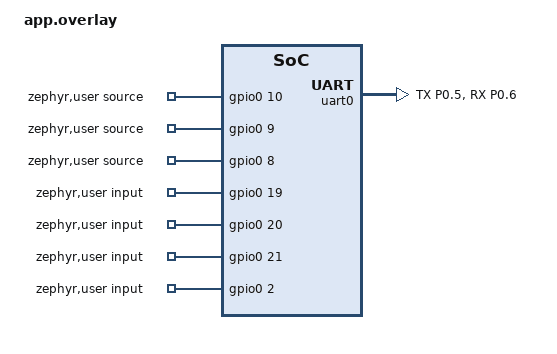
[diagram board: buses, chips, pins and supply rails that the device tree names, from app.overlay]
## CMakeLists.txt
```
cmake_minimum_required(VERSION 3.20.0)
find_package(Zephyr REQUIRED HINTS $ENV{ZEPHYR_BASE})
project(commkb)

target_sources(app PRIVATE
    src/main.c
    src/usb.c
    src/usb_device.c
    src/keyboard.c
)
```

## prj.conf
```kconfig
CONFIG_USB_DEVICE_STACK_NEXT=y

CONFIG_USBD_HID_SUPPORT=y
CONFIG_USBD_HID_SET_POLLING_PERIOD=y

CONFIG_LOG=y
CONFIG_USBD_LOG_LEVEL_WRN=y
CONFIG_USBD_HID_LOG_LEVEL_WRN=y
CONFIG_UDC_DRIVER_LOG_LEVEL_WRN=y

CONFIG_HWINFO=y
```

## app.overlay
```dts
/ {
    hid_dev_0: hid_dev_0 {
        compatible = "zephyr,hid-device";
        label = "HID0";
        protocol-code = "keyboard";
        in-report-size = <64>;
        in-polling-period-us = <1000>;
    };
};

/ {
    zephyr,user {
        /* Define a list (array) of gpios */
        source-gpios = <&gpio0 10  GPIO_ACTIVE_HIGH>,
                       <&gpio0 9  GPIO_ACTIVE_HIGH>,
                       <&gpio0 8 GPIO_ACTIVE_HIGH>;

        input-gpios = <&gpio0 19 (GPIO_ACTIVE_HIGH | GPIO_PULL_DOWN)>,
                      <&gpio0 20 (GPIO_ACTIVE_HIGH | GPIO_PULL_DOWN)>,
                      <&gpio0 21 (GPIO_ACTIVE_HIGH | GPIO_PULL_DOWN)>,
                      <&gpio0  2 (GPIO_ACTIVE_HIGH | GPIO_PULL_DOWN)>;
    };
};

&pinctrl {
    uart0_default: uart0_default {
        group1 {
            psels = <NRF_PSEL(UART_TX, 0, 5)>,
                    <NRF_PSEL(UART_RX, 0, 6)>;
        };
    };
};

&uart0 {
    status = "okay";
    pinctrl-0 = <&uart0_default>;
    pinctrl-names = "default";
    /delete-property/ pinctrl-1;
};
```

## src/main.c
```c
#include <stdint.h>
#include <string.h>
#include <zephyr/kernel.h>
#include <zephyr/sys/printk.h>
#include <zephyr/logging/log.h>
#include <zephyr/logging/log_core.h>
#include <zephyr/drivers/gpio.h>
#include <zephyr/dt-bindings/gpio/gpio.h>

#include "usb.h"
#include "keymap.h"
#include "keyboard.h"


LOG_MODULE_REGISTER(keybaord_main, LOG_LEVEL_INF);
void add_key_to_report(uint8_t key, uint8_t *keyreport);


int main(void)
{
    int err;
    if ((err = usbd_setup_helper()) != 0)
    {
        LOG_ERR("Failed to register USB device! (err: %d)\n", err);
        return err;
    }

    LOG_INF("USBD ready!");

    while (!hid_ready)
    {
        LOG_INF("Waiting for HID device to be ready...\n");
        k_sleep(K_SECONDS(1));
    }

    LOG_INF("HID ready!");

    if ((err = configure_keys()) != 0)
    {
        LOG_ERR("Failed to configure initial key states! (err: %d)", err);
        return err;
    }

    LOG_INF("Starting keyscan!");
    uint8_t offset_tmp = 0;
    uint64_t keyflags_tmp = 0;
    // by storing the previous keyflags we can avoid
    // computing if nothing changed.
    uint64_t keyflags_prev = 0;
    uint8_t keyreport[KB_BOOT_REPORT_SIZE] = {0};
    while (1)
    {
        // This checks what key is pressed
        refresh_key_state();

        if (keyflags_prev != keyflags)
        {
            memset(keyreport, 0, KB_BOOT_REPORT_SIZE);

            if(KFLAG_TEST(FN_KEY))
            {

                keyflags_tmp = keyflags;
                while (keyflags_tmp)
                {
                    printk("fn + offset: %d\n", offset_tmp);
                    offset_tmp = __builtin_ctzll(keyflags_tmp);
                    if (offset_tmp == FN_KEY)
                    {
                        keyflags_tmp &= (keyflags_tmp -1);
                        continue;
                    }

                    uint8_t ret = fnfunc_lookup[offset_tmp](offset_tmp);
                    // Some function keys just do their own thing.
                    // They signal this by returning -1.
                    // In this case we don't want to send anything.
                    if (ret < 0)
                        goto loop_end;

                    for (int i = 2; i < KB_BOOT_REPORT_SIZE; i++)
                    {
                        if (keyreport[i] == 0)
                        {
                            keyreport[i] = ret;
                            break;
                        }
                    }

                    keyflags_tmp &= (keyflags_tmp -1);
                }
            } else
            {
                keyflags_tmp = keyflags;
                while (keyflags_tmp)
                {
                    offset_tmp = __builtin_ctzll(keyflags_tmp);
                    printk("offset: %d\n", offset_tmp);

                    // Both the mod and regular keys can be added
                    // since if they are not set they are just 0.
                    keyreport[0] += modval_lookup[offset_tmp];
                    for (int i = 2; i < KB_BOOT_REPORT_SIZE; i++)
                    {
                        if (keyreport[i] == 0)
                        {
                            keyreport[i] = keyval_lookup[offset_tmp];
                            break;
                        }
                    }

                    // This bit of magic unsets the last flag
                    // so it ctzll can calculate the next offset.
                    keyflags_tmp &= (keyflags_tmp -1);
                }
            }


            for (int j = 0; j < KB_BOOT_REPORT_SIZE; j++)
                printk("%02x ", keyreport[j]);
            printk("\n");
            kb_hid_send_report(keyreport);
            keyflags_prev = keyflags;
        }

loop_end:
        k_usleep(10000);
    }

}
```

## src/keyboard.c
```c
#include <stdint.h>

#include <zephyr/kernel.h>
#include <zephyr/logging/log.h>
#include <zephyr/logging/log_core.h>
#include <zephyr/drivers/gpio.h>
#include <zephyr/dt-bindings/gpio/gpio.h>

#include "keymap.h"
#include "keyboard.h"


LOG_MODULE_REGISTER(keyboard_helper, LOG_LEVEL_INF);


const struct gpio_dt_spec sources[NUM_SOURCES] = {
    GPIO_DT_SPEC_GET_BY_IDX(ZEPHYR_USER_NODE, source_gpios, 0), // Pin 2
    GPIO_DT_SPEC_GET_BY_IDX(ZEPHYR_USER_NODE, source_gpios, 1), // Pin 3
    GPIO_DT_SPEC_GET_BY_IDX(ZEPHYR_USER_NODE, source_gpios, 2), // Pin 21
};


const struct gpio_dt_spec inputs[NUM_INPUTS] = {
    GPIO_DT_SPEC_GET_BY_IDX(ZEPHYR_USER_NODE, input_gpios, 0),
    GPIO_DT_SPEC_GET_BY_IDX(ZEPHYR_USER_NODE, input_gpios, 1),
    GPIO_DT_SPEC_GET_BY_IDX(ZEPHYR_USER_NODE, input_gpios, 2),
    GPIO_DT_SPEC_GET_BY_IDX(ZEPHYR_USER_NODE, input_gpios, 3),
};

_Static_assert(NUM_SOURCES * NUM_INPUTS <= 64,
               "Maximum 64 keys supported at this moment.");


// Keyflags is effectively the "state" of the keyboard.
// Some functions, such as refresh_key_state() change
// this value. Such functions should be limited to functions
// directly called by the library user.
uint64_t keyflags = 0;


// Lookup tables for both the key value and the mod value
const uint8_t keyval_lookup[NUM_KEYS] = {
#define X(offset, keyval, modval, fn, funval) [offset] = keyval,
    KFLAG_LIST(X)
#undef X
};

const uint8_t modval_lookup[NUM_KEYS] = {
#define X(offset, keyval, modval, fn, funval) [offset] = modval,
    KFLAG_LIST(X)
#undef X
};


// What function should the fn key call
const fnfunc_t fnfunc_lookup[NUM_KEYS] = {
#define X(offset, keyval, modval, fn, funval) [offset] = fn,
    KFLAG_LIST(X)
#undef X
};

// What key should the fn_layer function set.
const uint8_t fnlayer_lookup[NUM_KEYS] = {
#define X(offset, keyval, modval, fn, funval) [offset] = funval,
    KFLAG_LIST(X)
#undef X
};




int configure_keys()
{
    int err;


    for (uint8_t i = 0; i < NUM_SOURCES; i++)
    {
        if (!gpio_is_ready_dt(&sources[i]))
        {
            LOG_ERR("Source pin %d not available\n", i);
            return -1;
        }

        if ((err = gpio_pin_configure_dt(&sources[i], GPIO_OUTPUT_ACTIVE)) !=0)
        {
            LOG_ERR("Failed configuring source pin %d (err: %d)\n", i, err);
            return -1;
        }
    }

    for (uint8_t i = 0; i < NUM_INPUTS; i++)
    {
        if (!gpio_is_ready_dt(&inputs[i]))
        {
            LOG_ERR("Input pin %d not available\n", i);
            return -2;
        }
        if ((err = gpio_pin_configure_dt(&inputs[i], GPIO_INPUT | GPIO_PULL_DOWN)) != 0)
        {
            LOG_ERR("Failed configuring input pin %d (err %d)\n", i, err);
            return -2;
        }
    }

    for (uint8_t i = 0; i < NUM_SOURCES; i++)
        gpio_pin_set_dt(&sources[i], 0);


    return 0;
}

// Note that this function changes global state
void refresh_key_state()
{
    for (uint8_t s = 0; s < NUM_SOURCES; s++)
    {
        gpio_pin_set_dt(&sources[s], 1);
        for (uint8_t i = 0; i < NUM_INPUTS; i++)
        {
            if (gpio_pin_get_dt(&inputs[i]) > 0)
                KFLAG_SET(s, i);
            else
                KFLAG_CLEAR(s, i);
        }
        gpio_pin_set_dt(&sources[s], 0);
    }
}




// Placeholder for function keys that do nothing
uint8_t fn_none(uint8_t offset)
{
    return offset;
}

uint8_t fn_layer(uint8_t offset)
{
    return fnlayer_lookup[offset];
}
```

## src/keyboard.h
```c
#ifndef LOCAL_KEYBOARD_HEADER
#define LOCAL_KEYBOARD_HEADER

#include <stdint.h>
#include <zephyr/devicetree.h>
#include <zephyr/drivers/gpio.h>
#include <zephyr/usb/class/hid.h>

// Keyflags is effectively the "state" of the keyboard.
// Some functions, such as refresh_key_state() change
// this value. Such functions should be limited to functions
// directly called by the library user.
extern uint64_t keyflags;

#define NUM_INPUTS 4
#define NUM_SOURCES 3

#define USERNODE DT_PATH(zephyr_user)
#define ZEPHYR_USER_NODE DT_PATH(zephyr_user)


// Macros for the keyflag bitmask
#define KBIT(source, input) ((source) * NUM_INPUTS + (input))

#define KFLAG_SET(source, input) \
    (keyflags |=  (1ULL << KBIT(source, input)))

#define KFLAG_CLEAR(source, input) \
    (keyflags &= ~(1ULL << KBIT(source, input)))

#define KFLAG_TEST(offset) (((keyflags) >> (offset)) & 1ULL)


// Function type for fn functions.
typedef uint8_t (*fnfunc_t)(uint8_t);

extern const uint8_t keyval_lookup[];
extern const uint8_t modval_lookup[];
extern const fnfunc_t fnfunc_lookup[];
extern const uint8_t fnlayer_lookup[];


extern const struct gpio_dt_spec sources[];
extern const struct gpio_dt_spec inputs[];

int configure_keys();
void refresh_key_state();


// Function keys
uint8_t fn_none(uint8_t offset);
uint8_t fn_layer(uint8_t offset);
#endif
```

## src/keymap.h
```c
#ifndef LOCAL_KEYMAP_HEADER
#define LOCAL_KEYMAP_HEADER

#include <zephyr/usb/class/hid.h>



/*
 * This file serves the single purpose to
 * define what actions each key does on the
 * keyboard.
 *
 * Everything is set by the KFLAG_LIST macro, which identifies
 * keys by their offset in the keyflags bitmask. (This is the
 * bitmask used internally to track key states.)
 *
 * Setting up this macro is a bit complex initially, but only needs
 * to be done once for a keyboard. To get the offset of any key,
 * do the following steps:
 *
 * 1. Enable logging over UART (if it isn't already)
 * 2. Initially set up the macro in whatever order,
 *    making sure that there is an uninterrupted
 *    offset count. (ie: there are no skipped numbers)
 * 3. Push a key.
 * 4. Check what offset is printed to UART.
 * 4. Update the macro.
 */


// This macro defines what each physical key does. In order to get
// the offset for configuring a keyboard
// | offset | key value | mod value | fn_function | Layer key (0 if N/A)
#define NUM_KEYS 12
#define KFLAG_LIST(X)\
        X( 0,         HID_KEY_A,                            0,        fn_layer, HID_KEY_1) \
        X( 1,         HID_KEY_D,                            0,        fn_layer, HID_KEY_4) \
        X( 2, HID_KEY_BACKSPACE,                            0,        fn_layer, HID_KEY_7) \
        X( 3,                 0,                            0,         fn_none,         0) \
        X( 4,         HID_KEY_B,                            0,        fn_layer, HID_KEY_2) \
        X( 5,         HID_KEY_E,                            0,        fn_layer, HID_KEY_5) \
        X( 6,     HID_KEY_SPACE,                            0,        fn_layer, HID_KEY_8) \
        X( 7,                 0,   HID_KBD_MODIFIER_LEFT_CTRL,        fn_layer, HID_KEY_0) \
        X( 8,         HID_KEY_C,                            0,        fn_layer, HID_KEY_3) \
        X( 9,         HID_KEY_F,                            0,        fn_layer, HID_KEY_6) \
        X(10,     HID_KEY_ENTER,                            0,        fn_layer, HID_KEY_9) \
        X(11,                 0,    HID_KBD_MODIFIER_LEFT_ALT,         fn_none,         0)
// NOTE: FN key must always be set
#define FN_KEY 3

#endif
```

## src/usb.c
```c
#include <stdint.h>
#include <string.h>
#include <sys/errno.h>

#include <zephyr/kernel.h>
#include <zephyr/device.h>
#include <zephyr/usb/usbd.h>
#include <zephyr/sys/printk.h>
#include <zephyr/sys/util_macro.h>
#include <zephyr/logging/log.h>
#include <zephyr/logging/log_core.h>
#include <zephyr/toolchain/gcc.h>
#include <zephyr/usb/usbd_msg.h>
#include <zephyr/usb/class/hid.h>
#include <zephyr/usb/class/usbd_hid.h>
#include <zephyr/drivers/usb/udc_buf.h>


#include "usb.h"

static void kb_iface_ready(const struct device *dev, const bool ready);
static uint32_t kb_get_idle(const struct device *dev, const uint8_t id);
static void kb_set_protocol(const struct device *dev, const uint8_t proto);
static void kb_set_idle(const struct device *dev, const uint8_t id, const uint32_t duration);
static void kb_output_report(const struct device *dev, const uint16_t len, const uint8_t *const buf);
static int kb_get_report(const struct device *dev, const uint8_t type, const uint8_t id, const uint16_t len, uint8_t *const buf);
static int kb_set_report(const struct device *dev, const uint8_t type, const uint8_t id, const uint16_t len, const uint8_t *const buf);
static void msg_cb(struct usbd_context *const ctx, const struct usbd_msg *const msg);


LOG_MODULE_REGISTER(kb_usb, LOG_LEVEL_INF);



static const uint8_t hid_report_desc[] = HID_KEYBOARD_REPORT_DESC();

struct kb_report_msg {
    uint8_t report[KB_BOOT_REPORT_SIZE];
};

K_MSGQ_DEFINE(kb_report_q, sizeof(struct kb_report_msg), 2, 4);


UDC_STATIC_BUF_DEFINE(tx_report, KB_BOOT_REPORT_SIZE);

const struct device *hid_dev;
struct usbd_context *usbd_ctx;
bool hid_ready;


const struct hid_device_ops kb_ops = {
    .iface_ready   = kb_iface_ready,
    .get_report    = kb_get_report,
    .set_report    = kb_set_report,
    .set_idle      = kb_set_idle,
    .get_idle      = kb_get_idle,
    .set_protocol  = kb_set_protocol,
    .output_report = kb_output_report,
};



int usbd_setup_helper()
{
    int err;

    hid_dev = DEVICE_DT_GET_ONE(zephyr_hid_device);
    if (!device_is_ready(hid_dev))
    {
        LOG_ERR("HID device not ready");
        return -EIO;
    }

    if((err = hid_device_register(hid_dev, hid_report_desc, sizeof(hid_report_desc), &kb_ops)) != 0)
    {
        LOG_ERR("hid_device_register failed %d", err);
        return err;
    }

    // NOTE: CONFIG_USBD_HID_SET_POLLING_PERIOD has to be enabled!
    (void)hid_device_set_in_polling(hid_dev, 1000);
    err = hid_device_set_out_polling(hid_dev, 1000);
    if (err != 0 && err != -ENOTSUP)
        LOG_WRN("hid_device_set_out_polling warning: %d", err);


    usbd_ctx = app_usbd_init(msg_cb);
    if (usbd_ctx == NULL)
    {
        LOG_ERR("sample_usbd_init_device failed");
        return -ENODEV;
    }


    if (!usbd_can_detect_vbus(usbd_ctx))
        if ((err = usbd_enable(usbd_ctx)) != 0 )
        {
            LOG_ERR("Running usbd_enable failed! (err: %d)\n", err);
            return err;
        }

    return 0;
}







static void kb_iface_ready(const struct device *dev, const bool ready)
{
    ARG_UNUSED(dev);
    hid_ready = ready;
}


static int kb_get_report(const struct device *dev,
                         const uint8_t type,
                         const uint8_t id,
                         const uint16_t len,
                         uint8_t *const buf)
{
    ARG_UNUSED(dev);
    ARG_UNUSED(type);
    ARG_UNUSED(id);
    ARG_UNUSED(len);
    ARG_UNUSED(buf);
    return -ENOTSUP;
}

static int kb_set_report(const struct device *dev,
                         const uint8_t type, const uint8_t id, const uint16_t len,
                         const uint8_t *const buf)
{
    ARG_UNUSED(dev);
    ARG_UNUSED(id);
    ARG_UNUSED(len);
    ARG_UNUSED(buf);

    if (type != HID_REPORT_TYPE_OUTPUT)
        return -ENOTSUP;

    return 0;
}


static uint32_t kb_idle;
static void kb_set_idle(const struct device *dev, const uint8_t id, const uint32_t duration)
{
	ARG_UNUSED(dev);
	ARG_UNUSED(id);
	kb_idle = duration;
}

static uint32_t kb_get_idle(const struct device *dev, const uint8_t id)
{
	ARG_UNUSED(dev);
	ARG_UNUSED(id);
	return kb_idle;
}

static void kb_set_protocol(const struct device *dev, const uint8_t proto)
{
	ARG_UNUSED(dev);
	ARG_UNUSED(proto);
}
static void kb_output_report(const struct device *dev, const uint16_t len, const uint8_t *const buf)
{
    (void)kb_set_report(dev, HID_REPORT_TYPE_OUTPUT, 0U, len, buf);
}


static void msg_cb(struct usbd_context *const ctx, const struct usbd_msg *const msg)
{
    if (usbd_can_detect_vbus(ctx))
    {
        if(msg->type == USBD_MSG_VBUS_READY)
        {
            if(usbd_enable(ctx))
                LOG_ERR("usbd_enable failed");
        }
        else if (msg->type == USBD_MSG_VBUS_REMOVED)
        {
            if (usbd_disable(ctx))
                LOG_ERR("usbd_disable failed");
        }
    }
}


void kb_hid_send_report(uint8_t *keyreport)
{
    memcpy(tx_report, keyreport, KB_BOOT_REPORT_SIZE);
    hid_device_submit_report(hid_dev, KB_BOOT_REPORT_SIZE, tx_report);
}
```

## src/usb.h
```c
/*
 * usb.c handles the USB connection and messages
 * to the host system.
 */
#ifndef LOCAL_USB_HEADER_FILE
#define LOCAL_USB_HEADER_FILE


#include <stdbool.h>
#include <stdint.h>
#include <zephyr/device.h>
#include <zephyr/usb/usbd.h>
#include <zephyr/usb/usbd_msg.h>
#include <zephyr/usb/class/usbd_hid.h>
#include <zephyr/drivers/usb/udc_buf.h>


extern const struct device *hid_dev;
extern struct usbd_context *usbd_ctx;
extern bool hid_ready;

enum {
    KB_BOOT_REPORT_SIZE = 8
};


int usbd_setup_helper();
void kb_hid_send_report(uint8_t *keyreport);


// Forward declare from usb_device.c
struct usbd_context *app_usbd_init(usbd_msg_cb_t msg_cb);


#endif
```

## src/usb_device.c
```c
/*
 * This file is responsible for how the USB device appears
 * to the host. Its not responsible for sending any USB signals
 * and is kept separate so it can be interchanged.
 */
#include <stdint.h>
#include <sys/errno.h>

#include <zephyr/kernel.h>
#include <zephyr/device.h>
#include <zephyr/devicetree.h>
#include <zephyr/usb/usbd.h>
#include <zephyr/sys/printk.h>
#include <zephyr/sys/util_macro.h>
#include <zephyr/logging/log.h>
#include <zephyr/logging/log_core.h>
#include <zephyr/drivers/gpio.h>
#include <zephyr/toolchain/gcc.h>
#include <zephyr/usb/usbd_msg.h>
#include <zephyr/usb/class/hid.h>
#include <zephyr/usb/class/usbd_hid.h>
#include <zephyr/drivers/usb/udc_buf.h>



LOG_MODULE_REGISTER(app_usbd, LOG_LEVEL_INF);


USBD_DEVICE_DEFINE(app_usbd,
                   DEVICE_DT_GET(DT_NODELABEL(zephyr_udc0)),
                   0xbead, // VID
                   0x0001); // PID


USBD_DESC_LANG_DEFINE(app_lang);
USBD_DESC_MANUFACTURER_DEFINE(app_mfr, "bread");
USBD_DESC_PRODUCT_DEFINE(app_product, "bread HID keyboard");
USBD_DESC_SERIAL_NUMBER_DEFINE(app_sn);



USBD_DESC_CONFIG_DEFINE(fs_cfg_desc, "FS Configuration");


static const uint8_t cfg_attrib = 0;


USBD_CONFIGURATION_DEFINE(app_fs_config,
                          cfg_attrib,
                          50, // CONFIG_USB_MAX_POWER
                          &fs_cfg_desc);



static int add_basic_descriptors(void)
{
    int err;

    if ((err = usbd_add_descriptor(&app_usbd, &app_lang)) != 0)
        return err;

    if ((err = usbd_add_descriptor(&app_usbd, &app_mfr)) != 0)
        return err;

    if ((err = usbd_add_descriptor(&app_usbd, &app_product)) != 0)
        return err;

    if ((err = usbd_add_descriptor(&app_usbd, &app_sn)) != 0)
        return err;

    return 0;
}


struct usbd_context *app_usbd_init(usbd_msg_cb_t msg_cb)
{
    int err;

    if ((err = add_basic_descriptors()) != 0)
    {
        LOG_ERR("Descriptor assignments failed! (err: %d)", err);
        return NULL;
    }

    if ((err = usbd_add_configuration(&app_usbd, USBD_SPEED_FS, &app_fs_config)) != 0)
    {
        LOG_ERR("Add fs config failed! (err %d)", err);
        return NULL;
    }

    if ((err = usbd_register_all_classes(&app_usbd, USBD_SPEED_FS, 1, NULL)))
    {
        LOG_ERR("Register classes failed! (err: %d)", err);
        return NULL;
    }


    if (msg_cb)
        if ((err = usbd_msg_register_cb(&app_usbd, msg_cb)) != 0)
        {
            LOG_ERR("Msg CB register failed! (err: %d)", err);
            return NULL;
        }


    if ((err = usbd_init(&app_usbd)) != 0)
    {
        LOG_ERR("usbd_init failed! (err: %d)", err);
    }


    return &app_usbd;
}
```
